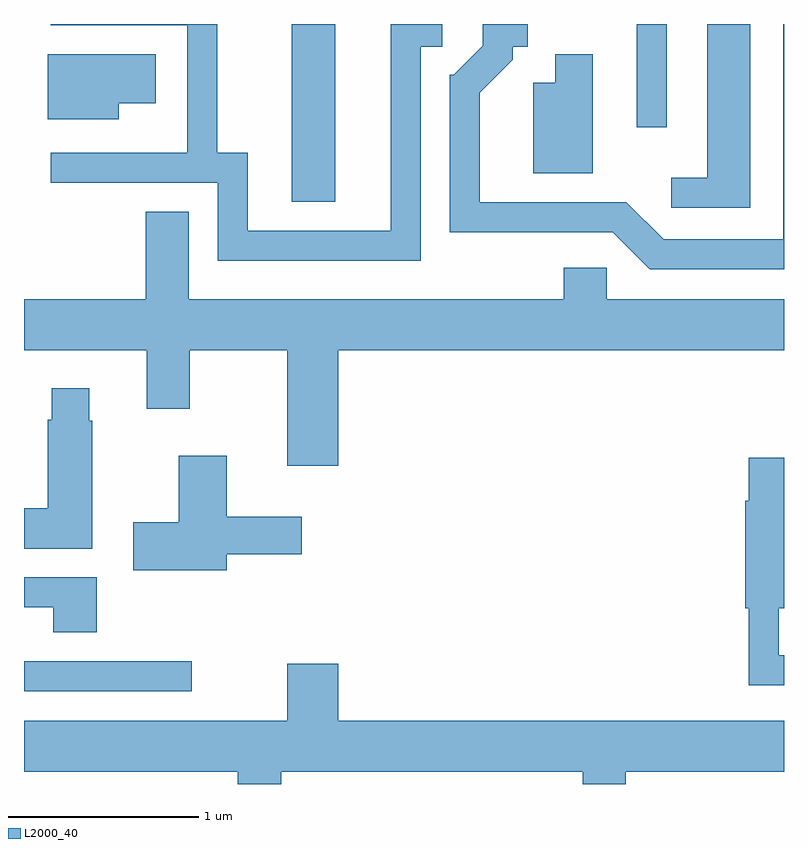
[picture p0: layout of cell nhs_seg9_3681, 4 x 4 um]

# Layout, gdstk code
import gdstk
lib = gdstk.Library(unit=1e-6, precision=1e-09)
def R(c, l, rs):  # rectangles x0, y0, x1, y1
    for r in rs: c.add(gdstk.rectangle(r[:2], r[2:], *l))
def P(c, l, *ps):  # polygons
    for p in ps: c.add(gdstk.Polygon(p, *l))
L2000_40 = (2000, 40)

nhs_seg9_3681 = lib.new_cell('nhs_seg9_3681')
R(nhs_seg9_3681, L2000_40, [(293.611,1978.921,294.493,1979.079), (295.021,1981.496,295.249,1982.432), (296.836,1981.888,296.994,1982.432)])
P(nhs_seg9_3681, L2000_40, [(295.699,1982.311),(295.813,1982.311),(295.813,1982.432),(295.541,1982.432),(295.541,1981.344),(294.789,1981.344),(294.789,1981.754),(294.629,1981.754),(294.629,1982.432),(293.753,1982.432),(293.753,1982.426),(294.471,1982.426),(294.471,1981.754),(293.753,1981.754),(293.753,1981.596),(294.631,1981.596),(294.631,1981.186),(295.699,1981.186)],
  [(297.611,1982.432),(297.606,1982.432),(297.606,1981.299),(296.977,1981.299),(296.782,1981.494),(296.009,1981.494),(296.009,1982.069),(296.184,1982.244),(296.184,1982.311),(296.263,1982.311),(296.263,1982.432),(296.026,1982.432),(296.026,1982.317),(295.874,1982.164),(295.851,1982.164),(295.851,1981.336),(296.709,1981.336),(296.904,1981.141),(297.611,1981.141)],
  [(297.434,1982.432),(297.206,1982.432),(297.206,1981.624),(297.018,1981.624),(297.018,1981.466),(297.434,1981.466)],
  [(294.109,1982.016),(294.304,1982.016),(294.304,1982.274),(293.736,1982.274),(293.736,1981.931),(294.109,1981.931)],
  [(296.604,1982.274),(296.406,1982.274),(296.406,1982.124),(296.291,1982.124),(296.291,1981.646),(296.604,1981.646)],
  [(295.264,1980.716),(297.611,1980.716),(297.611,1980.984),(296.679,1980.984),(296.679,1981.149),(296.451,1981.149),(296.451,1980.984),(294.479,1980.984),(294.479,1981.444),(294.251,1981.444),(294.251,1980.984),(293.611,1980.984),(293.611,1980.716),(294.256,1980.716),(294.256,1980.406),(294.484,1980.406),(294.484,1980.716),(294.996,1980.716),(294.996,1980.106),(295.264,1980.106)],
  [(293.969,1980.345),(293.954,1980.345),(293.954,1980.514),(293.756,1980.514),(293.756,1980.349),(293.736,1980.349),(293.736,1979.884),(293.611,1979.884),(293.611,1979.671),(293.969,1979.671)],
  [(294.679,1979.641),(295.074,1979.641),(295.074,1979.839),(294.679,1979.839),(294.679,1980.159),(294.426,1980.159),(294.426,1979.809),(294.186,1979.809),(294.186,1979.556),(294.679,1979.556)],
  [(297.611,1979.109),(297.584,1979.109),(297.584,1979.356),(297.611,1979.356),(297.611,1980.149),(297.426,1980.149),(297.426,1979.924),(297.406,1979.924),(297.406,1979.356),(297.426,1979.356),(297.426,1978.951),(297.611,1978.951)],
  [(293.994,1979.519),(293.611,1979.519),(293.611,1979.361),(293.766,1979.361),(293.766,1979.231),(293.994,1979.231)],
  [(294.964,1978.496),(296.551,1978.496),(296.551,1978.432),(296.779,1978.432),(296.779,1978.496),(297.611,1978.496),(297.611,1978.764),(295.264,1978.764),(295.264,1979.064),(294.996,1979.064),(294.996,1978.764),(293.611,1978.764),(293.611,1978.496),(294.736,1978.496),(294.736,1978.432),(294.964,1978.432)])

lib.write_gds('nhs_seg9_3681.gds')
